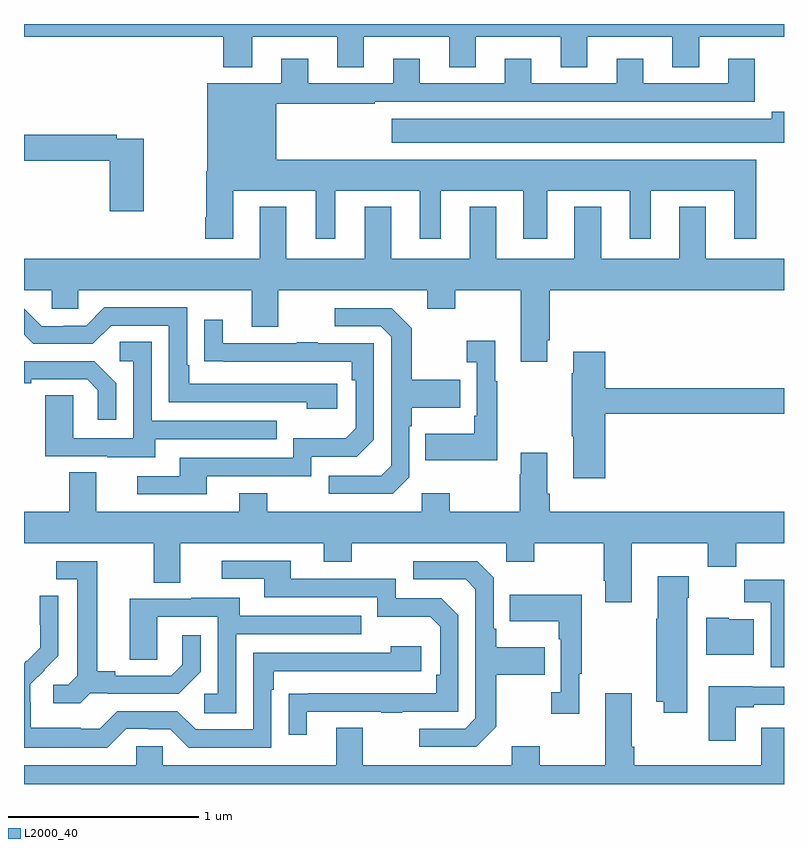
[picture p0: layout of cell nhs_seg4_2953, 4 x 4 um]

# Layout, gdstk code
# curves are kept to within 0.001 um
import gdstk
lib = gdstk.Library(unit=1e-6, precision=1e-09)
def P(c, l, *ps):  # polygons
    for p in ps: c.add(gdstk.Polygon(p, *l))
L2000_40 = (2000, 40)

nhs_seg4_2953 = lib.new_cell('nhs_seg4_2953')
P(nhs_seg4_2953, L2000_40, [(268.789,784.832),(269.237,784.832),(269.237,784.672),(269.377,784.672),(269.377,784.832),(269.825,784.832),(269.825,784.672),(269.965,784.672),(269.965,784.832),(270.413,784.832),(270.413,784.672),(270.553,784.672),(270.553,784.832),(271,784.832),(271,784.9),(267,784.9),(267,784.832),(268.049,784.832),(268.049,784.673),(268.201,784.673),(268.201,784.832),(268.649,784.832),(268.649,784.672),(268.789,784.672)],
  [(268.102,784.022),(268.535,784.022),(268.535,783.771),(268.639,783.771),(268.639,784.022),(269.084,784.022),(269.084,783.771),(269.194,783.771),(269.194,784.022),(269.627,784.022),(269.627,783.771),(269.755,783.771),(269.755,784.022),(270.188,784.022),(270.188,783.771),(270.298,783.771),(270.298,784.022),(270.737,784.022),(270.737,783.771),(270.853,783.771),(270.853,784.186),(268.327,784.186),(268.327,784.479),(268.847,784.479),(268.847,784.491),(270.847,784.491),(270.847,784.717),(270.707,784.717),(270.707,784.587),(270.259,784.587),(270.259,784.717),(270.119,784.717),(270.119,784.587),(269.671,784.587),(269.671,784.717),(269.531,784.717),(269.531,784.587),(269.083,784.587),(269.083,784.717),(268.943,784.717),(268.943,784.587),(268.495,784.587),(268.495,784.717),(268.355,784.717),(268.355,784.588),(267.965,784.588),(267.965,784.126),(267.958,784.126),(267.958,783.883),(267.953,783.883),(267.953,783.771),(268.102,783.771)],
  [(271,784.438),(270.935,784.438),(270.935,784.402),(268.935,784.402),(268.935,784.274),(271,784.274)],
  [(267.63,784.296),(267.488,784.296),(267.488,784.316),(267,784.316),(267,784.18),(267.452,784.18),(267.452,783.915),(267.63,783.915)],
  [(269.755,783.235),(269.768,783.235),(269.768,783.5),(271,783.5),(271,783.664),(270.589,783.664),(270.589,783.937),(270.449,783.937),(270.449,783.664),(270.037,783.664),(270.037,783.937),(269.897,783.937),(269.897,783.664),(269.485,783.664),(269.485,783.937),(269.345,783.937),(269.345,783.664),(268.933,783.664),(268.933,783.937),(268.793,783.937),(268.793,783.664),(268.381,783.664),(268.381,783.937),(268.241,783.937),(268.241,783.664),(267,783.664),(267,783.5),(267.147,783.5),(267.147,783.402),(267.285,783.402),(267.285,783.5),(268.199,783.5),(268.199,783.306),(268.339,783.306),(268.339,783.5),(269.123,783.5),(269.123,783.401),(269.271,783.401),(269.271,783.5),(269.615,783.5),(269.615,783.123),(269.755,783.123)],
  [(268.648,783.006),(267.871,783.006),(267.871,783.103),(267.858,783.103),(267.858,783.408),(267.423,783.408),(267.327,783.312),(267.209,783.312),(267.209,783.309),(267.093,783.309),(267,783.402),(267,783.264),(267.048,783.216),(267.363,783.216),(267.459,783.312),(267.762,783.312),(267.762,782.91),(268.487,782.91),(268.487,782.876),(268.648,782.876)],
  [(269.028,782.514),(269.028,782.783),(269.041,782.783),(269.041,782.879),(269.297,782.879),(269.297,783.027),(269.041,783.027),(269.041,783.299),(268.935,783.405),(268.635,783.405),(268.635,783.309),(268.878,783.309),(268.932,783.255),(268.932,782.574),(268.881,782.523),(268.605,782.523),(268.605,782.427),(268.941,782.427)],
  [(267.961,782.52),(268.512,782.52),(268.512,782.622),(268.752,782.622),(268.842,782.712),(268.842,783.219),(268.547,783.219),(268.547,783.224),(268.435,783.224),(268.435,783.219),(268.045,783.219),(268.045,783.343),(267.949,783.343),(267.949,783.124),(268.726,783.123),(268.726,783.026),(268.746,783.026),(268.746,782.772),(268.693,782.719),(268.416,782.719),(268.416,782.616),(267.821,782.616),(267.821,782.52),(267.597,782.52),(267.597,782.424),(267.961,782.424)],
  [(269.491,783.019),(269.479,783.019),(269.479,783.232),(269.331,783.232),(269.331,783.119),(269.382,783.119),(269.382,782.839),(269.37,782.839),(269.37,782.743),(269.113,782.743),(269.113,782.603),(269.491,782.603)],
  [(267.691,782.715),(268.331,782.715),(268.331,782.811),(267.672,782.811),(267.672,783.227),(267.504,783.227),(267.504,783.126),(267.576,783.126),(267.576,782.721),(267.258,782.721),(267.258,782.945),(267.113,782.945),(267.113,782.625),(267.437,782.625),(267.437,782.621),(267.691,782.621)],
  [(270.059,782.848),(271,782.848),(271,782.984),(270.059,782.984),(270.059,783.175),(269.891,783.175),(269.891,783.062),(269.884,783.062),(269.884,782.731),(269.891,782.731),(269.891,782.508),(270.059,782.508)],
  [(267.486,783.01),(267.37,783.126),(267,783.126),(267,783.008),(267.037,783.008),(267.037,783.03),(267.332,783.03),(267.389,782.973),(267.389,782.817),(267.486,782.817)],
  [(270.199,782.168),(270.598,782.168),(270.598,782.044),(270.749,782.044),(270.749,782.168),(271,782.168),(271,782.332),(269.768,782.332),(269.768,782.428),(269.755,782.428),(269.755,782.644),(269.615,782.644),(269.615,782.531),(269.608,782.531),(269.608,782.332),(269.241,782.332),(269.241,782.431),(269.094,782.431),(269.094,782.332),(268.281,782.332),(268.281,782.431),(268.133,782.431),(268.133,782.332),(267.379,782.332),(267.379,782.54),(267.239,782.54),(267.239,782.332),(267,782.332),(267,782.168),(267.683,782.168),(267.683,781.96),(267.823,781.96),(267.823,782.168),(268.577,782.168),(268.577,782.069),(268.725,782.069),(268.725,782.168),(269.538,782.168),(269.538,782.069),(269.685,782.069),(269.685,782.168),(270.052,782.168),(270.052,781.969),(270.059,781.969),(270.059,781.857),(270.199,781.857)],
  [(268.489,781.281),(268.879,781.281),(268.879,781.276),(268.991,781.276),(268.991,781.281),(269.286,781.281),(269.286,781.788),(269.196,781.878),(268.956,781.878),(268.956,781.98),(268.405,781.98),(268.405,782.076),(268.041,782.076),(268.041,781.98),(268.265,781.98),(268.265,781.884),(268.86,781.884),(268.86,781.781),(269.137,781.781),(269.19,781.728),(269.19,781.474),(269.17,781.474),(269.17,781.377),(268.393,781.376),(268.393,781.158),(268.489,781.158)],
  [(267.348,781.377),(267.442,781.377),(267.442,781.374),(267.814,781.374),(267.93,781.49),(267.93,781.684),(267.833,781.684),(267.833,781.527),(267.776,781.47),(267.481,781.47),(267.481,781.493),(267.385,781.493),(267.385,782.073),(267.171,782.073),(267.171,781.977),(267.281,781.977),(267.281,781.469),(267.234,781.422),(267.153,781.422),(267.153,781.325),(267.296,781.325)],
  [(269.485,781.201),(269.485,781.474),(269.741,781.474),(269.741,781.621),(269.485,781.621),(269.485,781.717),(269.472,781.717),(269.472,781.986),(269.385,782.073),(269.049,782.073),(269.049,781.977),(269.325,781.977),(269.376,781.926),(269.376,781.245),(269.322,781.191),(269.079,781.191),(269.079,781.095),(269.379,781.095)],
  [(270.49,781.88),(270.498,781.88),(270.498,781.993),(270.335,781.993),(270.335,781.769),(270.328,781.769),(270.328,781.334),(270.368,781.334),(270.368,781.275),(270.49,781.275)],
  [(271,781.974),(270.79,781.974),(270.79,781.856),(270.929,781.856),(270.929,781.515),(271,781.515)],
  [(269.923,781.481),(269.935,781.481),(269.935,781.897),(269.557,781.897),(269.557,781.757),(269.814,781.757),(269.814,781.661),(269.826,781.661),(269.826,781.382),(269.775,781.382),(269.775,781.269),(269.923,781.269)],
  [(267.537,781.191),(267.653,781.191),(267.653,781.188),(267.771,781.188),(267.867,781.092),(268.302,781.092),(268.302,781.397),(268.315,781.397),(268.315,781.494),(269.092,781.494),(269.092,781.624),(268.931,781.624),(268.931,781.59),(268.206,781.59),(268.206,781.188),(267.903,781.188),(267.807,781.284),(267.492,781.284),(267.399,781.191),(267.299,781.191),(267.299,781.195),(267.036,781.195),(267.036,781.329),(267.034,781.329),(267.034,781.426),(267.18,781.574),(267.18,781.892),(267.084,781.892),(267.084,781.738),(267.086,781.738),(267.086,781.616),(267.015,781.545),(267.012,781.548),(267,781.536),(267,781.091),(267.437,781.091)],
  [(268.116,781.689),(268.775,781.689),(268.775,781.785),(268.135,781.785),(268.135,781.879),(267.881,781.879),(267.881,781.875),(267.557,781.875),(267.557,781.555),(267.702,781.555),(267.702,781.779),(268.02,781.779),(268.02,781.374),(267.948,781.374),(267.948,781.273),(268.116,781.273)],
  [(270.841,781.768),(270.708,781.768),(270.708,781.774),(270.59,781.774),(270.59,781.58),(270.841,781.58)],
  [(270.745,781.305),(270.841,781.305),(270.841,781.317),(271,781.317),(271,781.413),(270.833,781.413),(270.833,781.414),(270.605,781.414),(270.605,781.128),(270.745,781.128)],
  [(271,781.195),(270.881,781.195),(270.881,781),(270.212,781),(270.212,781.096),(270.199,781.096),(270.199,781.378),(270.059,781.378),(270.059,781),(269.715,781),(269.715,781.099),(269.567,781.099),(269.567,781),(268.783,781),(268.783,781.195),(268.643,781.195),(268.643,781),(267.729,781),(267.729,781.098),(267.591,781.098),(267.591,781),(267,781),(267,780.9),(271,780.9)])

lib.write_gds('nhs_seg4_2953.gds')
